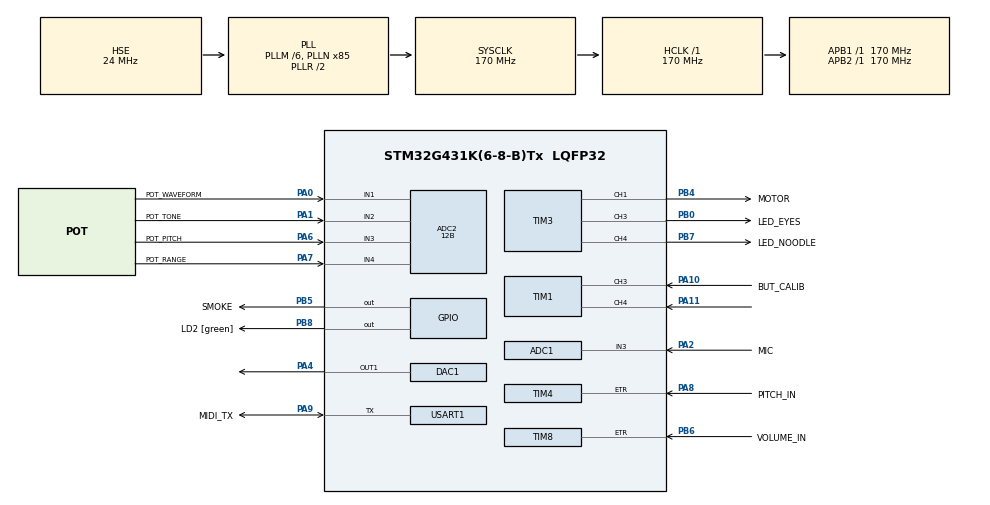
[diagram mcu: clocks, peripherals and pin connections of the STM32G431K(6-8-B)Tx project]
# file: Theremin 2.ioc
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ADC1.Channel-2\#ChannelRegularConversion=ADC_CHANNEL_3
ADC1.ContinuousConvMode=DISABLE
ADC1.GainCompensation=40
ADC1.NbrOfConversionFlag=1
ADC1.OffsetNumber-2\#ChannelRegularConversion=ADC_OFFSET_NONE
ADC1.Rank-2\#ChannelRegularConversion=1
ADC1.SamplingTime-2\#ChannelRegularConversion=ADC_SAMPLETIME_2CYCLES_5
ADC1.master=1
ADC2.Channel-6\#ChannelRegularConversion=ADC_CHANNEL_1
ADC2.Channel-7\#ChannelRegularConversion=ADC_CHANNEL_2
ADC2.ClockPrescaler=ADC_CLOCK_SYNC_PCLK_DIV4
ADC2.ContinuousConvMode=ENABLE
ADC2.DataAlign=ADC_DATAALIGN_RIGHT
ADC2.EOCSelection=ADC_EOC_SINGLE_CONV
ADC2.EnableInjectedConversion=DISABLE
ADC2.EnableRegularConversion=ENABLE
ADC2.NbrOfConversion=2
ADC2.NbrOfConversionFlag=1
ADC2.OffsetNumber-6\#ChannelRegularConversion=ADC_OFFSET_NONE
ADC2.OffsetNumber-7\#ChannelRegularConversion=ADC_OFFSET_NONE
ADC2.Rank-6\#ChannelRegularConversion=1
ADC2.Rank-7\#ChannelRegularConversion=2
ADC2.Rank1_Channel=ADC_CHANNEL_1
ADC2.Rank2_Channel=ADC_CHANNEL_1
ADC2.Resolution=ADC_RESOLUTION_12B
ADC2.SamplingTime-6\#ChannelRegularConversion=ADC_SAMPLETIME_12CYCLES_5
ADC2.SamplingTime-7\#ChannelRegularConversion=ADC_SAMPLETIME_12CYCLES_5
DAC1.DAC_DMADoubleDataMode-DAC_OUT1=DISABLE
DAC1.DAC_HighFrequency_OUT1-DAC_OUT1=DAC_HIGH_FREQUENCY_INTERFACE_MODE_DISABLE
DAC1.DAC_SignedFormat-DAC_OUT1=DISABLE
DAC1.DAC_Trigger_OUT1-DAC_OUT1=DAC_TRIGGER_T2_TRGO
Dma.ADC1.1.Direction=DMA_PERIPH_TO_MEMORY
Dma.ADC1.1.EventEnable=DISABLE
Dma.ADC1.1.Instance=DMA1_Channel3
Dma.ADC1.1.MemDataAlignment=DMA_MDATAALIGN_WORD
Dma.ADC1.1.MemInc=DMA_MINC_ENABLE
Dma.ADC1.1.Mode=DMA_NORMAL
Dma.ADC1.1.PeriphDataAlignment=DMA_PDATAALIGN_WORD
Dma.ADC1.1.PeriphInc=DMA_PINC_DISABLE
Dma.ADC1.1.Polarity=HAL_DMAMUX_REQ_GEN_RISING
Dma.ADC1.1.Priority=DMA_PRIORITY_LOW
Dma.ADC1.1.RequestNumber=1
Dma.ADC1.1.SignalID=NONE
Dma.ADC1.1.SyncEnable=DISABLE
Dma.ADC1.1.SyncPolarity=HAL_DMAMUX_SYNC_NO_EVENT
Dma.ADC1.1.SyncRequestNumber=1
Dma.ADC1.1.SyncSignalID=NONE
Dma.DAC1_CH1.0.Direction=DMA_MEMORY_TO_PERIPH
Dma.DAC1_CH1.0.EventEnable=DISABLE
Dma.DAC1_CH1.0.Instance=DMA1_Channel1
Dma.DAC1_CH1.0.MemDataAlignment=DMA_MDATAALIGN_WORD
Dma.DAC1_CH1.0.MemInc=DMA_MINC_ENABLE
Dma.DAC1_CH1.0.Mode=DMA_CIRCULAR
Dma.DAC1_CH1.0.PeriphDataAlignment=DMA_PDATAALIGN_WORD
Dma.DAC1_CH1.0.PeriphInc=DMA_PINC_DISABLE
Dma.DAC1_CH1.0.Polarity=HAL_DMAMUX_REQ_GEN_RISING
Dma.DAC1_CH1.0.Priority=DMA_PRIORITY_HIGH
Dma.DAC1_CH1.0.RequestNumber=1
Dma.DAC1_CH1.0.SignalID=NONE
Dma.DAC1_CH1.0.SyncEnable=DISABLE
Dma.DAC1_CH1.0.SyncPolarity=HAL_DMAMUX_SYNC_NO_EVENT
Dma.DAC1_CH1.0.SyncRequestNumber=1
Dma.DAC1_CH1.0.SyncSignalID=NONE
Dma.Request0=DAC1_CH1
Dma.Request1=ADC1
Mcu.Family=STM32G4
Mcu.Name=STM32G431K(6-8-B)Tx
Mcu.Package=LQFP32
NVIC.DMA1_Channel1_IRQn=true\:1\:0\:true\:false\:true\:false\:true\:true
NVIC.DMA1_Channel3_IRQn=true\:1\:0\:true\:false\:true\:false\:true\:true
NVIC.PriorityGroup=NVIC_PRIORITYGROUP_4
NVIC.TIM1_BRK_TIM15_IRQn=true\:0\:0\:false\:false\:true\:true\:true\:true
NVIC.TIM1_CC_IRQn=true\:0\:0\:true\:false\:true\:true\:true\:true
NVIC.TIM4_IRQn=true\:0\:0\:true\:false\:true\:true\:true\:true
NVIC.TIM8_UP_IRQn=true\:0\:0\:true\:false\:true\:true\:true\:true
PA0.GPIO_Label=POT_WAVEFORM
PA0.Mode=IN1-Single-Ended
PA0.Signal=ADC2_IN1
PA1.GPIO_Label=POT_TONE
PA1.Mode=IN2-Single-Ended
PA1.Signal=ADC2_IN2
PA10.GPIO_Label=BUT_CALIB
PA10.GPIO_PuPd=GPIO_PULLDOWN
PA10.Signal=S_TIM1_CH3
PA11.Signal=S_TIM1_CH4
PA13.GPIO_Label=T_SWDIO
PA13.Mode=Serial_Wire
PA13.Signal=SYS_JTMS-SWDIO
PA14.GPIO_Label=T_SWCLK
PA14.Mode=Serial_Wire
PA14.Signal=SYS_JTCK-SWCLK
PA2.GPIO_Label=MIC
PA2.Mode=IN3-Single-Ended
PA2.Signal=ADC1_IN3
PA4.Signal=COMP_DAC11_group
PA6.GPIO_Label=POT_PITCH
PA6.Mode=IN3-Single-Ended
PA6.Signal=ADC2_IN3
PA7.GPIO_Label=POT_RANGE
PA7.Mode=IN4-Single-Ended
PA7.Signal=ADC2_IN4
PA8.GPIO_Label=PITCH_IN
PA8.Signal=S_TIM4_ETR
PA9.GPIO_Label=MIDI_TX
PA9.Mode=Half_duplex(single_wire_mode)
PA9.Signal=USART1_TX
PB0.GPIO_Label=LED_EYES
PB0.Signal=S_TIM3_CH3
PB3.GPIO_Label=T_SWO
PB3.Signal=SYS_JTDO-SWO
PB4.GPIO_Label=MOTOR
PB4.Signal=S_TIM3_CH1
PB5.GPIO_Label=SMOKE
PB5.Signal=GPIO_Output
PB6.GPIO_Label=VOLUME_IN
PB6.Signal=S_TIM8_ETR
PB7.GPIO_Label=LED_NOODLE
PB7.Signal=S_TIM3_CH4
PB8-BOOT0.GPIO_Label=LD2 [green]
PB8-BOOT0.Signal=GPIO_Output
PF0-OSC_IN.Mode=HSE-External-Oscillator
PF0-OSC_IN.Signal=RCC_OSC_IN
PF1-OSC_OUT.Mode=HSE-External-Oscillator
PF1-OSC_OUT.Signal=RCC_OSC_OUT
ProjectManager.HeapSize=0x200
ProjectManager.StackSize=0x400
ProjectManager.TargetToolchain=STM32CubeIDE
RCC.ADC12Freq_Value=170000000
RCC.AHBFreq_Value=170000000
RCC.APB1Freq_Value=170000000
RCC.APB1TimFreq_Value=170000000
RCC.APB2Freq_Value=170000000
RCC.APB2TimFreq_Value=170000000
RCC.CK48CLockSelection=RCC_USBCLKSOURCE_HSI48
RCC.CortexFreq_Value=170000000
RCC.EXTERNAL_CLOCK_VALUE=12288000
RCC.HCLKFreq_Value=170000000
RCC.HSE_VALUE=24000000
RCC.HSI48_VALUE=48000000
RCC.HSI_VALUE=16000000
RCC.LSE_VALUE=32768
RCC.MSIAutoCalibration=ENABLED
RCC.MSICalibrationValue=0
RCC.PLLM=RCC_PLLM_DIV6
RCC.PLLN=85
RCC.PLLSourceVirtual=RCC_PLLSOURCE_HSE
RCC.SYSCLKFreq_VALUE=170000000
RCC.SYSCLKSource=RCC_SYSCLKSOURCE_PLLCLK
RCC.USBFreq_Value=48000000
RCC.VCOOutputFreq_Value=340000000
SH.COMP_DAC11_group.0=DAC1_OUT1,DAC_OUT1
SH.S_TIM1_CH3.0=TIM1_CH3,Input_Capture3_from_TI3
SH.S_TIM1_CH4.0=TIM1_CH4,Input_Capture4_from_TI4
SH.S_TIM3_CH1.0=TIM3_CH1,PWM Generation1 CH1
SH.S_TIM3_CH3.0=TIM3_CH3,PWM Generation3 CH3
SH.S_TIM3_CH4.0=TIM3_CH4,PWM Generation4 CH4
SH.S_TIM4_ETR.0=TIM4_ETR,ClockSourceETR_Mode2
SH.S_TIM8_ETR.0=TIM8_ETR,ClockSourceETR_Mode2
TIM1.Channel-Input_Capture3_from_TI3=TIM_CHANNEL_3
TIM1.Channel-Input_Capture4_from_TI4=TIM_CHANNEL_4
TIM1.ICFilter_CH3=12
TIM1.ICFilter_CH4=5
TIM1.ICPolarity_CH3=TIM_INPUTCHANNELPOLARITY_RISING
TIM2.PeriodNoDither=3855
TIM2.TIM_MasterOutputTrigger=TIM_TRGO_UPDATE
TIM3.Channel-PWM\ Generation1\ CH1=TIM_CHANNEL_1
TIM3.Channel-PWM\ Generation3\ CH3=TIM_CHANNEL_3
TIM3.Channel-PWM\ Generation4\ CH4=TIM_CHANNEL_4
TIM4.ClockDivision=TIM_CLOCKDIVISION_DIV1
TIM4.PeriodNoDither=12000
TIM4.Prescaler=0
TIM8.PeriodNoDither=6000
USART1.VirtualMode-Half_duplex(single_wire_mode)=VM_ASYNC
VP_SYS_VS_DBSignals.Mode=DisableDeadBatterySignals
VP_TIM1_VS_ClockSourceINT.Mode=Internal
VP_TIM2_VS_ClockSourceINT.Mode=Internal
VP_TIM3_VS_ClockSourceINT.Mode=Internal
board=NUCLEO-G431KB

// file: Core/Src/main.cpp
/* USER CODE BEGIN Header */
/**
 ******************************************************************************
 * @file           : main.c
 * @brief          : Main program body
 ******************************************************************************
 * @attention
 *
 * Copyright (c) 2024 STMicroelectronics.
 * All rights reserved.
 *
 * This software is licensed under terms that can be found in the LICENSE file
 * in the root directory of this software component.
 * If no LICENSE file comes with this software, it is provided AS-IS.
 *
 ******************************************************************************
 */
/* USER CODE END Header */
#include "main.h"

/* USER CODE BEGIN Includes */
#include <math.h>

#include "stm32g4xx_hal_dac.h"
#include "stm32g4xx_hal_dma.h"
#include "theremin.hpp"

/* USER CODE END Includes */

ADC_HandleTypeDef hadc1;
ADC_HandleTypeDef hadc2;
DMA_HandleTypeDef hdma_adc1;

DAC_HandleTypeDef hdac1;
DMA_HandleTypeDef hdma_dac1_ch1;

TIM_HandleTypeDef htim1;
TIM_HandleTypeDef htim2;
TIM_HandleTypeDef htim3;
TIM_HandleTypeDef htim4;
TIM_HandleTypeDef htim8;

UART_HandleTypeDef huart1;

/* USER CODE BEGIN PV */
#define HALF_AUDIO_BUFFER_SIZE 320
uint32_t AudioBuffer[HALF_AUDIO_BUFFER_SIZE * 2] = { 0 };

/* USER CODE END PV */

void SystemClock_Config(void);
static void MX_GPIO_Init(void);
static void MX_DMA_Init(void);
static void MX_ADC2_Init(void);
static void MX_DAC1_Init(void);
static void MX_TIM3_Init(void);
static void MX_TIM4_Init(void);
static void MX_TIM8_Init(void);
static void MX_USART1_UART_Init(void);
static void MX_TIM2_Init(void);
static void MX_TIM1_Init(void);
static void MX_ADC1_Init(void);

/* USER CODE BEGIN 0 */
float map(float value, float low1, float high1, float low2, float high2) {
	return low2 + (value - low1) * (high2 - low2) / (high1 - low1);
}

// higher base frequency results in higher lowest pitch
float pitchBaseFrequency = 1e6;
uint32_t lastPitchMeasurementCPUClockCount = 0;
uint32_t pitchPulsesElapsed = 0;

float volumeBaseFrequency = 1e6;
uint32_t lastVolumeMeasurementCPUClockCount = 0;
uint32_t volumePulsesElapsed = 0;

struct ADCReadouts
{
	float timbre = 0.f;
	float filter = 0.f;
};

void calibrate()
{
	pitchBaseFrequency = htim4.Init.Period
			* (SystemCoreClock / static_cast<float>(pitchPulsesElapsed)) + 100;
	volumeBaseFrequency = htim8.Init.Period
			* (SystemCoreClock / static_cast<float>(volumePulsesElapsed)) + 100;
}

ADCReadouts readADC()
{
	ADCReadouts readouts;
    HAL_ADC_Start(&hadc2); // Start ADC conversion
    HAL_ADC_PollForConversion(&hadc2, HAL_MAX_DELAY); // Wait for conversion to complete
    readouts.filter = HAL_ADC_GetValue(&hadc2)/(float)(1<<12);
    readouts.timbre = HAL_ADC_GetValue(&hadc2)/(float)(1<<12);
    HAL_ADC_Stop(&hadc2); // Stop ADC

    return readouts;
}

// Called by main(), lowest priority
void readPotentiometers()
{
	ADCReadouts readouts = readADC();
	theremin::updateWaveShape(readouts.timbre);
	theremin::updateCutoff(readouts.filter);
}

/*
 * This callback gets called when any of the buttons gets pressed.
 * The purpose of the associated TIM1 is to debounce button presses
 */
extern "C" void HAL_TIM_IC_CaptureCallback(TIM_HandleTypeDef *htim) {
	if (htim->Instance == TIM1) {
		// TODO: check which channel it comes from to identify which button was pressed
		calibrate();
	}
}

/**
 * Called by TIM4 ETR interrupt. It measures the high frequency signal from the TLC555 pitch generator
 * The frequency of the TLC555 signal varies by moving the hand around the pitch antenna. This function
 * subtracts the base frequency of the TLC555 generator to move it back to audible range and tells the
 * Theremin oscillator to generate that frequency
 */
void pitchMeasurementInterruptHandler(void) {
	uint32_t currentCPUClockCount = DWT->CYCCNT;
	pitchPulsesElapsed = currentCPUClockCount
			- lastPitchMeasurementCPUClockCount;

	float frequency = htim4.Init.Period
			* (SystemCoreClock / static_cast<float>(pitchPulsesElapsed));

	const float readoutMin = 20;
	const float readoutMax = 6000;

	frequency -= pitchBaseFrequency;
	frequency *= -1;
	frequency *= 0.4f;

	if(frequency < readoutMin)
		frequency = 0.f;
	if(frequency > readoutMax)
		frequency = readoutMax;

	theremin::updatePitch(frequency);
	lastPitchMeasurementCPUClockCount = currentCPUClockCount;
	HAL_TIM_IRQHandler(&htim4);
}

/**
 * Called by TIM8 ETR interrupt. Same as the above, but for TIM8 and deals with the volume
 */
void volumeMeasurementInterruptHandler(void) {
	uint32_t currentCPUClockCount = DWT->CYCCNT;
	volumePulsesElapsed = currentCPUClockCount
			- lastVolumeMeasurementCPUClockCount;

	float frequency = htim8.Init.Period
			* (SystemCoreClock / static_cast<float>(volumePulsesElapsed));

	constexpr float fMax = 1000;
	frequency -= volumeBaseFrequency - fMax;

	if (frequency < 0)
		frequency = 0;
	if (frequency > fMax)
		frequency = fMax;

	float volume = frequency * (1.f / fMax);

	theremin::updateVolume(volume);

	lastVolumeMeasurementCPUClockCount = currentCPUClockCount;

	HAL_TIM_IRQHandler(&htim8);
}

// Double buffered DAC DMA
void dmaTransferHalf(DAC_HandleTypeDef*) {
	for (int i = 0; i < HALF_AUDIO_BUFFER_SIZE; ++i) {
		AudioBuffer[i] = 2048.f * theremin::processSample() + 2047.f;
	}
}

void dmaTransferComplete(DAC_HandleTypeDef*) {
	for (int i = HALF_AUDIO_BUFFER_SIZE; i < 2 * HALF_AUDIO_BUFFER_SIZE; ++i) {
		AudioBuffer[i] = 2048.f * theremin::processSample() + 2047.f;
	}
}
/* USER CODE END 0 */

int main(void)
{

  /* USER CODE BEGIN 1 */
	// Enable CPU cycle counter
	CoreDebug->DEMCR |= CoreDebug_DEMCR_TRCENA_Msk;
	DWT->CTRL |= DWT_CTRL_CYCCNTENA_Msk;
  /* USER CODE END 1 */

  /* MCU Configuration--------------------------------------------------------*/

  /* Reset of all peripherals, Initializes the Flash interface and the Systick. */
  HAL_Init();

  /* Configure the system clock */
  SystemClock_Config();

  /* Initialize all configured peripherals */
  MX_GPIO_Init();
  MX_DMA_Init();
  MX_ADC2_Init();
  MX_DAC1_Init();
  MX_TIM3_Init();
  MX_TIM4_Init();
  MX_TIM8_Init();
  MX_USART1_UART_Init();
  MX_TIM2_Init();
  MX_TIM1_Init();
  MX_ADC1_Init();
  /* USER CODE BEGIN 2 */
	theremin::init();

	HAL_TIM_Base_Start_IT(&htim4); // pitch oscillator frequency measurement timer
	HAL_TIM_Base_Start_IT(&htim8); // volume oscillator frequency measurement timer
	HAL_TIM_IC_Start_IT(&htim1, TIM_CHANNEL_3); // button debouncing timer
	HAL_TIM_IC_Start_IT(&htim1, TIM_CHANNEL_4); // button debouncing timer

	HAL_Delay(100);
	calibrate();

	HAL_DAC_RegisterCallback(&hdac1, HAL_DAC_CH1_HALF_COMPLETE_CB_ID,
			dmaTransferHalf);
	HAL_DAC_RegisterCallback(&hdac1, HAL_DAC_CH1_COMPLETE_CB_ID,
			dmaTransferComplete);
	HAL_DAC_Start_DMA(&hdac1, DAC_CHANNEL_1, (uint32_t*) AudioBuffer,
	HALF_AUDIO_BUFFER_SIZE * 2, DAC_ALIGN_12B_R);
	HAL_TIM_Base_Start(&htim2); // DAC sample rate timer
  /* USER CODE END 2 */

  /* Infinite loop */
  /* USER CODE BEGIN WHILE */
	while (1) {
		readPotentiometers();
		HAL_Delay(50);
    /* USER CODE END WHILE */

    /* USER CODE BEGIN 3 */
	}

//-------------------------------------- ALL THE CODE BELOW IS AUTO-GENERATED BY CUBE IDE -------------------------------
  /* USER CODE END 3 */
}

void SystemClock_Config(void)
{
  RCC_OscInitTypeDef RCC_OscInitStruct = {0};
  RCC_ClkInitTypeDef RCC_ClkInitStruct = {0};

  /** Configure the main internal regulator output voltage
  */
  HAL_PWREx_ControlVoltageScaling(PWR_REGULATOR_VOLTAGE_SCALE1_BOOST);

  /** Initializes the RCC Oscillators according to the specified parameters
  * in the RCC_OscInitTypeDef structure.
  */
  RCC_OscInitStruct.OscillatorType = RCC_OSCILLATORTYPE_HSE;
  RCC_OscInitStruct.HSEState = RCC_HSE_ON;
  RCC_OscInitStruct.PLL.PLLState = RCC_PLL_ON;
  RCC_OscInitStruct.PLL.PLLSource = RCC_PLLSOURCE_HSE;
  RCC_OscInitStruct.PLL.PLLM = RCC_PLLM_DIV6;
  RCC_OscInitStruct.PLL.PLLN = 85;
  RCC_OscInitStruct.PLL.PLLP = RCC_PLLP_DIV2;
  RCC_OscInitStruct.PLL.PLLQ = RCC_PLLQ_DIV2;
  RCC_OscInitStruct.PLL.PLLR = RCC_PLLR_DIV2;
  if (HAL_RCC_OscConfig(&RCC_OscInitStruct) != HAL_OK)
  {
    Error_Handler();
  }

  /** Initializes the CPU, AHB and APB buses clocks
  */
  RCC_ClkInitStruct.ClockType = RCC_CLOCKTYPE_HCLK|RCC_CLOCKTYPE_SYSCLK
                              |RCC_CLOCKTYPE_PCLK1|RCC_CLOCKTYPE_PCLK2;
  RCC_ClkInitStruct.SYSCLKSource = RCC_SYSCLKSOURCE_PLLCLK;
  RCC_ClkInitStruct.AHBCLKDivider = RCC_SYSCLK_DIV1;
  RCC_ClkInitStruct.APB1CLKDivider = RCC_HCLK_DIV1;
  RCC_ClkInitStruct.APB2CLKDivider = RCC_HCLK_DIV1;

  if (HAL_RCC_ClockConfig(&RCC_ClkInitStruct, FLASH_LATENCY_4) != HAL_OK)
  {
    Error_Handler();
  }
}

static void MX_ADC1_Init(void)
{

  ADC_MultiModeTypeDef multimode = {0};
  ADC_ChannelConfTypeDef sConfig = {0};

  /** Common config
  */
  hadc1.Instance = ADC1;
  hadc1.Init.ClockPrescaler = ADC_CLOCK_SYNC_PCLK_DIV4;
  hadc1.Init.Resolution = ADC_RESOLUTION_12B;
  hadc1.Init.DataAlign = ADC_DATAALIGN_RIGHT;
  hadc1.Init.GainCompensation = 40;
  hadc1.Init.ScanConvMode = ADC_SCAN_DISABLE;
  hadc1.Init.EOCSelection = ADC_EOC_SINGLE_CONV;
  hadc1.Init.LowPowerAutoWait = DISABLE;
  hadc1.Init.ContinuousConvMode = DISABLE;
  hadc1.Init.NbrOfConversion = 1;
  hadc1.Init.DiscontinuousConvMode = DISABLE;
  hadc1.Init.ExternalTrigConv = ADC_SOFTWARE_START;
  hadc1.Init.ExternalTrigConvEdge = ADC_EXTERNALTRIGCONVEDGE_NONE;
  hadc1.Init.DMAContinuousRequests = DISABLE;
  hadc1.Init.Overrun = ADC_OVR_DATA_PRESERVED;
  hadc1.Init.OversamplingMode = DISABLE;
  if (HAL_ADC_Init(&hadc1) != HAL_OK)
  {
    Error_Handler();
  }

  /** Configure the ADC multi-mode
  */
  multimode.Mode = ADC_MODE_INDEPENDENT;
  if (HAL_ADCEx_MultiModeConfigChannel(&hadc1, &multimode) != HAL_OK)
  {
    Error_Handler();
  }

  /** Configure Regular Channel
  */
  sConfig.Channel = ADC_CHANNEL_3;
  sConfig.Rank = ADC_REGULAR_RANK_1;
  sConfig.SamplingTime = ADC_SAMPLETIME_2CYCLES_5;
  sConfig.SingleDiff = ADC_SINGLE_ENDED;
  sConfig.OffsetNumber = ADC_OFFSET_NONE;
  sConfig.Offset = 0;
  if (HAL_ADC_ConfigChannel(&hadc1, &sConfig) != HAL_OK)
  {
    Error_Handler();
  }

}

static void MX_ADC2_Init(void)
{

  ADC_ChannelConfTypeDef sConfig = {0};

  /** Common config
  */
  hadc2.Instance = ADC2;
  hadc2.Init.ClockPrescaler = ADC_CLOCK_SYNC_PCLK_DIV4;
  hadc2.Init.Resolution = ADC_RESOLUTION_12B;
  hadc2.Init.DataAlign = ADC_DATAALIGN_RIGHT;
  hadc2.Init.GainCompensation = 0;
  hadc2.Init.ScanConvMode = ADC_SCAN_ENABLE;
  hadc2.Init.EOCSelection = ADC_EOC_SINGLE_CONV;
  hadc2.Init.LowPowerAutoWait = DISABLE;
  hadc2.Init.ContinuousConvMode = ENABLE;
  hadc2.Init.NbrOfConversion = 2;
  hadc2.Init.DiscontinuousConvMode = DISABLE;
  hadc2.Init.ExternalTrigConv = ADC_SOFTWARE_START;
  hadc2.Init.ExternalTrigConvEdge = ADC_EXTERNALTRIGCONVEDGE_NONE;
  hadc2.Init.DMAContinuousRequests = DISABLE;
  hadc2.Init.Overrun = ADC_OVR_DATA_PRESERVED;
  hadc2.Init.OversamplingMode = DISABLE;
  if (HAL_ADC_Init(&hadc2) != HAL_OK)
  {
    Error_Handler();
  }

  /** Configure Regular Channel
  */
  sConfig.Channel = ADC_CHANNEL_1;
  sConfig.Rank = ADC_REGULAR_RANK_1;
  sConfig.SamplingTime = ADC_SAMPLETIME_12CYCLES_5;
  sConfig.SingleDiff = ADC_SINGLE_ENDED;
  sConfig.OffsetNumber = ADC_OFFSET_NONE;
  sConfig.Offset = 0;
  if (HAL_ADC_ConfigChannel(&hadc2, &sConfig) != HAL_OK)
  {
    Error_Handler();
  }

  /** Configure Regular Channel
  */
  sConfig.Channel = ADC_CHANNEL_2;
  sConfig.Rank = ADC_REGULAR_RANK_2;
  if (HAL_ADC_ConfigChannel(&hadc2, &sConfig) != HAL_OK)
  {
    Error_Handler();
  }

}

static void MX_DAC1_Init(void)
{

  DAC_ChannelConfTypeDef sConfig = {0};

  /** DAC Initialization
  */
  hdac1.Instance = DAC1;
  if (HAL_DAC_Init(&hdac1) != HAL_OK)
  {
    Error_Handler();
  }

  /** DAC channel OUT1 config
  */
  sConfig.DAC_HighFrequency = DAC_HIGH_FREQUENCY_INTERFACE_MODE_DISABLE;
  sConfig.DAC_DMADoubleDataMode = DISABLE;
  sConfig.DAC_SignedFormat = DISABLE;
  sConfig.DAC_SampleAndHold = DAC_SAMPLEANDHOLD_DISABLE;
  sConfig.DAC_Trigger = DAC_TRIGGER_T2_TRGO;
  sConfig.DAC_Trigger2 = DAC_TRIGGER_NONE;
  sConfig.DAC_OutputBuffer = DAC_OUTPUTBUFFER_ENABLE;
  sConfig.DAC_ConnectOnChipPeripheral = DAC_CHIPCONNECT_EXTERNAL;
  sConfig.DAC_UserTrimming = DAC_TRIMMING_FACTORY;
  if (HAL_DAC_ConfigChannel(&hdac1, &sConfig, DAC_CHANNEL_1) != HAL_OK)
  {
    Error_Handler();
  }

}

static void MX_TIM1_Init(void)
{

  TIM_ClockConfigTypeDef sClockSourceConfig = {0};
  TIM_MasterConfigTypeDef sMasterConfig = {0};
  TIM_IC_InitTypeDef sConfigIC = {0};

  htim1.Instance = TIM1;
  htim1.Init.Prescaler = 0;
  htim1.Init.CounterMode = TIM_COUNTERMODE_UP;
  htim1.Init.Period = 65535;
  htim1.Init.ClockDivision = TIM_CLOCKDIVISION_DIV1;
  htim1.Init.RepetitionCounter = 0;
  htim1.Init.AutoReloadPreload = TIM_AUTORELOAD_PRELOAD_DISABLE;
  if (HAL_TIM_Base_Init(&htim1) != HAL_OK)
  {
    Error_Handler();
  }
  sClockSourceConfig.ClockSource = TIM_CLOCKSOURCE_INTERNAL;
  if (HAL_TIM_ConfigClockSource(&htim1, &sClockSourceConfig) != HAL_OK)
  {
    Error_Handler();
  }
  if (HAL_TIM_IC_Init(&htim1) != HAL_OK)
  {
    Error_Handler();
  }
  sMasterConfig.MasterOutputTrigger = TIM_TRGO_RESET;
  sMasterConfig.MasterOutputTrigger2 = TIM_TRGO2_RESET;
  sMasterConfig.MasterSlaveMode = TIM_MASTERSLAVEMODE_DISABLE;
  if (HAL_TIMEx_MasterConfigSynchronization(&htim1, &sMasterConfig) != HAL_OK)
  {
    Error_Handler();
  }
  sConfigIC.ICPolarity = TIM_INPUTCHANNELPOLARITY_RISING;
  sConfigIC.ICSelection = TIM_ICSELECTION_DIRECTTI;
  sConfigIC.ICPrescaler = TIM_ICPSC_DIV1;
  sConfigIC.ICFilter = 12;
  if (HAL_TIM_IC_ConfigChannel(&htim1, &sConfigIC, TIM_CHANNEL_3) != HAL_OK)
  {
    Error_Handler();
  }
  sConfigIC.ICFilter = 5;
  if (HAL_TIM_IC_ConfigChannel(&htim1, &sConfigIC, TIM_CHANNEL_4) != HAL_OK)
  {
    Error_Handler();
  }

}

static void MX_TIM2_Init(void)
{

  TIM_ClockConfigTypeDef sClockSourceConfig = {0};
  TIM_MasterConfigTypeDef sMasterConfig = {0};

  htim2.Instance = TIM2;
  htim2.Init.Prescaler = 0;
  htim2.Init.CounterMode = TIM_COUNTERMODE_UP;
  htim2.Init.Period = 3855;
  htim2.Init.ClockDivision = TIM_CLOCKDIVISION_DIV1;
  htim2.Init.AutoReloadPreload = TIM_AUTORELOAD_PRELOAD_DISABLE;
  if (HAL_TIM_Base_Init(&htim2) != HAL_OK)
  {
    Error_Handler();
  }
  sClockSourceConfig.ClockSource = TIM_CLOCKSOURCE_INTERNAL;
  if (HAL_TIM_ConfigClockSource(&htim2, &sClockSourceConfig) != HAL_OK)
  {
    Error_Handler();
  }
  sMasterConfig.MasterOutputTrigger = TIM_TRGO_UPDATE;
  sMasterConfig.MasterSlaveMode = TIM_MASTERSLAVEMODE_DISABLE;
  if (HAL_TIMEx_MasterConfigSynchronization(&htim2, &sMasterConfig) != HAL_OK)
  {
    Error_Handler();
  }

}

static void MX_TIM3_Init(void)
{

  TIM_ClockConfigTypeDef sClockSourceConfig = {0};
  TIM_MasterConfigTypeDef sMasterConfig = {0};
  TIM_OC_InitTypeDef sConfigOC = {0};

  htim3.Instance = TIM3;
  htim3.Init.Prescaler = 0;
  htim3.Init.CounterMode = TIM_COUNTERMODE_UP;
  htim3.Init.Period = 65535;
  htim3.Init.ClockDivision = TIM_CLOCKDIVISION_DIV1;
  htim3.Init.AutoReloadPreload = TIM_AUTORELOAD_PRELOAD_DISABLE;
  if (HAL_TIM_Base_Init(&htim3) != HAL_OK)
  {
    Error_Handler();
  }
  sClockSourceConfig.ClockSource = TIM_CLOCKSOURCE_INTERNAL;
  if (HAL_TIM_ConfigClockSource(&htim3, &sClockSourceConfig) != HAL_OK)
  {
    Error_Handler();
  }
  if (HAL_TIM_PWM_Init(&htim3) != HAL_OK)
  {
    Error_Handler();
  }
  sMasterConfig.MasterOutputTrigger = TIM_TRGO_RESET;
  sMasterConfig.MasterSlaveMode = TIM_MASTERSLAVEMODE_DISABLE;
  if (HAL_TIMEx_MasterConfigSynchronization(&htim3, &sMasterConfig) != HAL_OK)
  {
    Error_Handler();
  }
  sConfigOC.OCMode = TIM_OCMODE_PWM1;
  sConfigOC.Pulse = 0;
  sConfigOC.OCPolarity = TIM_OCPOLARITY_HIGH;
  sConfigOC.OCFastMode = TIM_OCFAST_DISABLE;
  if (HAL_TIM_PWM_ConfigChannel(&htim3, &sConfigOC, TIM_CHANNEL_1) != HAL_OK)
  {
    Error_Handler();
  }
  if (HAL_TIM_PWM_ConfigChannel(&htim3, &sConfigOC, TIM_CHANNEL_3) != HAL_OK)
  {
    Error_Handler();
  }
  if (HAL_TIM_PWM_ConfigChannel(&htim3, &sConfigOC, TIM_CHANNEL_4) != HAL_OK)
  {
    Error_Handler();
  }
  HAL_TIM_MspPostInit(&htim3);

}

static void MX_TIM4_Init(void)
{

  TIM_ClockConfigTypeDef sClockSourceConfig = {0};
  TIM_MasterConfigTypeDef sMasterConfig = {0};

  htim4.Instance = TIM4;
  htim4.Init.Prescaler = 0;
  htim4.Init.CounterMode = TIM_COUNTERMODE_UP;
  htim4.Init.Period = 12000;
  htim4.Init.ClockDivision = TIM_CLOCKDIVISION_DIV1;
  htim4.Init.AutoReloadPreload = TIM_AUTORELOAD_PRELOAD_DISABLE;
  if (HAL_TIM_Base_Init(&htim4) != HAL_OK)
  {
    Error_Handler();
  }
  sClockSourceConfig.ClockSource = TIM_CLOCKSOURCE_ETRMODE2;
  sClockSourceConfig.ClockPolarity = TIM_CLOCKPOLARITY_NONINVERTED;
  sClockSourceConfig.ClockPrescaler = TIM_CLOCKPRESCALER_DIV1;
  sClockSourceConfig.ClockFilter = 0;
  if (HAL_TIM_ConfigClockSource(&htim4, &sClockSourceConfig) != HAL_OK)
  {
    Error_Handler();
  }
  sMasterConfig.MasterOutputTrigger = TIM_TRGO_RESET;
  sMasterConfig.MasterSlaveMode = TIM_MASTERSLAVEMODE_DISABLE;
  if (HAL_TIMEx_MasterConfigSynchronization(&htim4, &sMasterConfig) != HAL_OK)
  {
    Error_Handler();
  }

}

static void MX_TIM8_Init(void)
{

  TIM_ClockConfigTypeDef sClockSourceConfig = {0};
  TIM_MasterConfigTypeDef sMasterConfig = {0};

  htim8.Instance = TIM8;
  htim8.Init.Prescaler = 0;
  htim8.Init.CounterMode = TIM_COUNTERMODE_UP;
  htim8.Init.Period = 6000;
  htim8.Init.ClockDivision = TIM_CLOCKDIVISION_DIV1;
  htim8.Init.RepetitionCounter = 0;
  htim8.Init.AutoReloadPreload = TIM_AUTORELOAD_PRELOAD_DISABLE;
  if (HAL_TIM_Base_Init(&htim8) != HAL_OK)
  {
    Error_Handler();
  }
  sClockSourceConfig.ClockSource = TIM_CLOCKSOURCE_ETRMODE2;
  sClockSourceConfig.ClockPolarity = TIM_CLOCKPOLARITY_NONINVERTED;
  sClockSourceConfig.ClockPrescaler = TIM_CLOCKPRESCALER_DIV1;
  sClockSourceConfig.ClockFilter = 0;
  if (HAL_TIM_ConfigClockSource(&htim8, &sClockSourceConfig) != HAL_OK)
  {
    Error_Handler();
  }
  sMasterConfig.MasterOutputTrigger = TIM_TRGO_RESET;
  sMasterConfig.MasterOutputTrigger2 = TIM_TRGO2_RESET;
  sMasterConfig.MasterSlaveMode = TIM_MASTERSLAVEMODE_DISABLE;
  if (HAL_TIMEx_MasterConfigSynchronization(&htim8, &sMasterConfig) != HAL_OK)
  {
    Error_Handler();
  }

}

static void MX_USART1_UART_Init(void)
{

  huart1.Instance = USART1;
  huart1.Init.BaudRate = 115200;
  huart1.Init.WordLength = UART_WORDLENGTH_8B;
  huart1.Init.StopBits = UART_STOPBITS_1;
  huart1.Init.Parity = UART_PARITY_NONE;
  huart1.Init.Mode = UART_MODE_TX_RX;
  huart1.Init.HwFlowCtl = UART_HWCONTROL_NONE;
  huart1.Init.OverSampling = UART_OVERSAMPLING_16;
  huart1.Init.OneBitSampling = UART_ONE_BIT_SAMPLE_DISABLE;
  huart1.Init.ClockPrescaler = UART_PRESCALER_DIV1;
  huart1.AdvancedInit.AdvFeatureInit = UART_ADVFEATURE_NO_INIT;
  if (HAL_HalfDuplex_Init(&huart1) != HAL_OK)
  {
    Error_Handler();
  }
  if (HAL_UARTEx_SetTxFifoThreshold(&huart1, UART_TXFIFO_THRESHOLD_1_8) != HAL_OK)
  {
    Error_Handler();
  }
  if (HAL_UARTEx_SetRxFifoThreshold(&huart1, UART_RXFIFO_THRESHOLD_1_8) != HAL_OK)
  {
    Error_Handler();
  }
  if (HAL_UARTEx_DisableFifoMode(&huart1) != HAL_OK)
  {
    Error_Handler();
  }

}

static void MX_DMA_Init(void)
{

  /* DMA controller clock enable */
  __HAL_RCC_DMAMUX1_CLK_ENABLE();
  __HAL_RCC_DMA1_CLK_ENABLE();

  /* DMA interrupt init */
  /* DMA1_Channel1_IRQn interrupt configuration */
  HAL_NVIC_SetPriority(DMA1_Channel1_IRQn, 1, 0);
  HAL_NVIC_EnableIRQ(DMA1_Channel1_IRQn);
  /* DMA1_Channel3_IRQn interrupt configuration */
  HAL_NVIC_SetPriority(DMA1_Channel3_IRQn, 1, 0);
  HAL_NVIC_EnableIRQ(DMA1_Channel3_IRQn);

}

static void MX_GPIO_Init(void)
{
  GPIO_InitTypeDef GPIO_InitStruct = {0};

  /* GPIO Ports Clock Enable */
  __HAL_RCC_GPIOF_CLK_ENABLE();
  __HAL_RCC_GPIOA_CLK_ENABLE();
  __HAL_RCC_GPIOB_CLK_ENABLE();

  /*Configure GPIO pin Output Level */
  HAL_GPIO_WritePin(GPIOB, SMOKE_Pin|LD2_Pin, GPIO_PIN_RESET);

  /*Configure GPIO pins : SMOKE_Pin LD2_Pin */
  GPIO_InitStruct.Pin = SMOKE_Pin|LD2_Pin;
  GPIO_InitStruct.Mode = GPIO_MODE_OUTPUT_PP;
  GPIO_InitStruct.Pull = GPIO_NOPULL;
  GPIO_InitStruct.Speed = GPIO_SPEED_FREQ_LOW;
  HAL_GPIO_Init(GPIOB, &GPIO_InitStruct);

}

void Error_Handler(void)
{
	__disable_irq();
	while (1) {
	}
}
